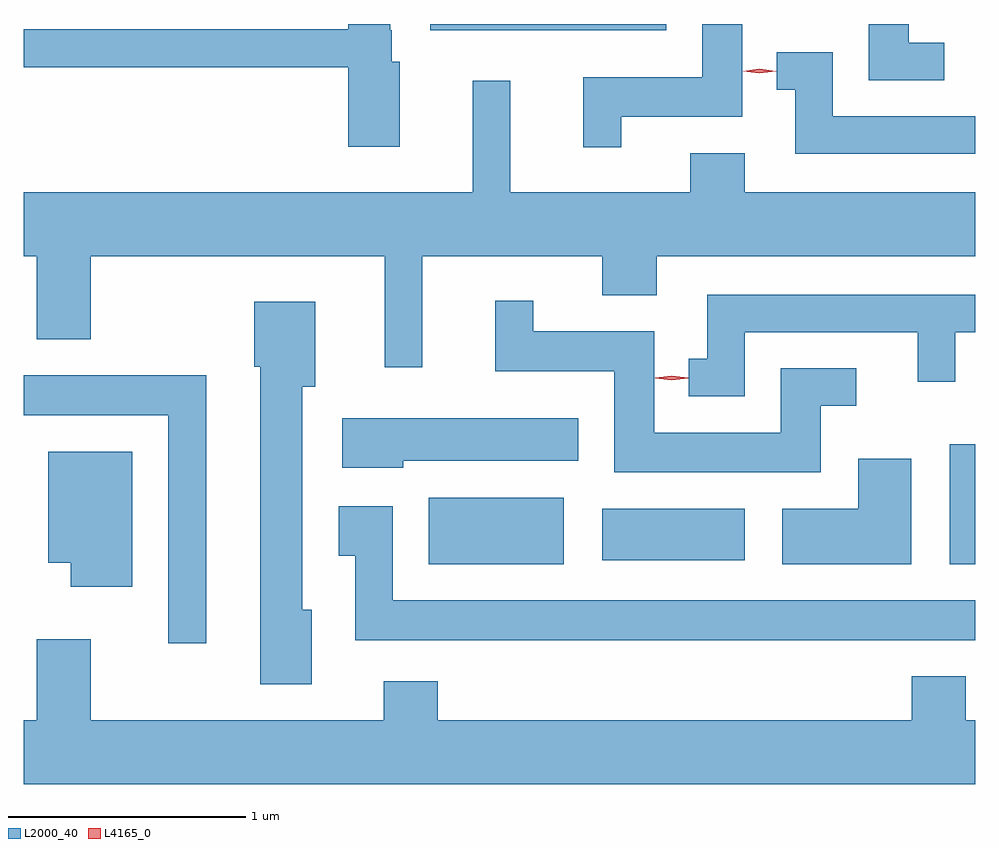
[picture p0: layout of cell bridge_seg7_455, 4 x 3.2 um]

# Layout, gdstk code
import gdstk
lib = gdstk.Library(unit=1e-6, precision=1e-09)
def R(c, l, rs):  # rectangles x0, y0, x1, y1
    for r in rs: c.add(gdstk.rectangle(r[:2], r[2:], *l))
def P(c, l, *ps):  # polygons
    for p in ps: c.add(gdstk.Polygon(p, *l))
L2000_40 = (2000, 40)
L4165_0 = (4165, 0)

bridge_seg7_455 = lib.new_cell('bridge_seg7_455')
R(bridge_seg7_455, L2000_40, [(1083.281,1704.141,1083.849,1704.419), (1085.471,1704.141,1085.578,1704.644), (1084.011,1704.156,1084.609,1704.374), (1083.286,1706.386,1084.279,1706.412)])
P(bridge_seg7_455, L2000_40, [(1084.089,1706.021),(1084.599,1706.021),(1084.599,1706.412),(1084.431,1706.412),(1084.431,1706.189),(1083.931,1706.189),(1083.931,1705.893),(1084.089,1705.893)],
  [(1085.448,1706.334),(1085.299,1706.334),(1085.299,1706.412),(1085.131,1706.412),(1085.131,1706.176),(1085.448,1706.176)],
  [(1083.159,1706.254),(1083.124,1706.254),(1083.124,1706.385),(1083.119,1706.385),(1083.119,1706.412),(1082.941,1706.412),(1082.941,1706.389),(1081.578,1706.389),(1081.578,1706.231),(1082.941,1706.231),(1082.941,1705.896),(1083.159,1705.896)],
  [(1085.578,1706.024),(1084.979,1706.024),(1084.979,1706.294),(1084.743,1706.294),(1084.743,1706.136),(1084.821,1706.136),(1084.821,1705.866),(1085.578,1705.866)],
  [(1083.254,1705.436),(1084.011,1705.436),(1084.011,1705.271),(1084.239,1705.271),(1084.239,1705.436),(1085.578,1705.436),(1085.578,1705.704),(1084.609,1705.704),(1084.609,1705.869),(1084.381,1705.869),(1084.381,1705.704),(1083.624,1705.704),(1083.624,1706.173),(1083.466,1706.173),(1083.466,1705.704),(1081.578,1705.704),(1081.578,1705.436),(1081.631,1705.436),(1081.631,1705.086),(1081.859,1705.086),(1081.859,1705.436),(1083.096,1705.436),(1083.096,1704.968),(1083.254,1704.968)],
  [(1084.609,1705.116),(1085.336,1705.116),(1085.336,1704.908),(1085.494,1704.908),(1085.494,1705.116),(1085.578,1705.116),(1085.578,1705.274),(1084.451,1705.274),(1084.451,1705.004),(1084.373,1705.004),(1084.373,1704.846),(1084.609,1704.846)],
  [(1084.929,1704.806),(1085.078,1704.806),(1085.078,1704.964),(1084.761,1704.964),(1084.761,1704.694),(1084.229,1704.694),(1084.229,1705.119),(1083.719,1705.119),(1083.719,1705.248),(1083.561,1705.248),(1083.561,1704.951),(1084.061,1704.951),(1084.061,1704.526),(1084.929,1704.526)],
  [(1082.789,1703.949),(1082.749,1703.949),(1082.749,1704.886),(1082.804,1704.886),(1082.804,1705.244),(1082.546,1705.244),(1082.546,1704.971),(1082.571,1704.971),(1082.571,1703.636),(1082.789,1703.636)],
  [(1082.344,1704.934),(1081.578,1704.934),(1081.578,1704.766),(1082.186,1704.766),(1082.186,1703.808),(1082.344,1703.808)],
  [(1083.174,1704.576),(1083.909,1704.576),(1083.909,1704.754),(1082.916,1704.754),(1082.916,1704.546),(1083.174,1704.546)],
  [(1082.034,1704.614),(1081.681,1704.614),(1081.681,1704.146),(1081.776,1704.146),(1081.776,1704.046),(1082.034,1704.046)],
  [(1085.309,1704.584),(1085.086,1704.584),(1085.086,1704.374),(1084.766,1704.374),(1084.766,1704.141),(1085.309,1704.141)],
  [(1085.578,1703.989),(1083.129,1703.989),(1083.129,1704.384),(1082.901,1704.384),(1082.901,1704.176),(1082.971,1704.176),(1082.971,1703.821),(1085.578,1703.821)],
  [(1085.578,1703.484),(1085.539,1703.484),(1085.539,1703.669),(1085.311,1703.669),(1085.311,1703.484),(1083.319,1703.484),(1083.319,1703.649),(1083.091,1703.649),(1083.091,1703.484),(1081.859,1703.484),(1081.859,1703.824),(1081.631,1703.824),(1081.631,1703.484),(1081.578,1703.484),(1081.578,1703.216),(1085.578,1703.216)])
P(bridge_seg7_455, L4165_0, [(1084.671,1706.204),(1084.602,1706.213),(1084.602,1706.214),(1084.602,1706.214),(1084.671,1706.224),(1084.741,1706.214),(1084.741,1706.214),(1084.741,1706.213)],
  [(1084.302,1704.914),(1084.232,1704.922),(1084.232,1704.923),(1084.232,1704.924),(1084.302,1704.933),(1084.371,1704.924),(1084.371,1704.924),(1084.371,1704.923)])

lib.write_gds('bridge_seg7_455.gds')
